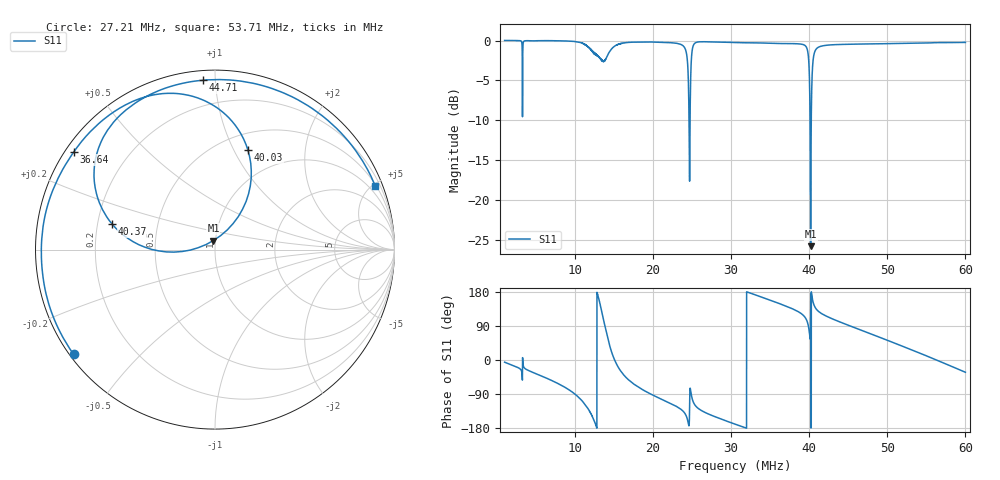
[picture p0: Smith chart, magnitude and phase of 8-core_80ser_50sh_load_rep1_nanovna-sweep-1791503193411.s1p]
! NanoVNA Web complex sweep
! Processing: unaveraged complex samples; linear segment spacing; no smoothing
# Hz S RI R 50
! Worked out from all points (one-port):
!   5050 points, 1 MHz to 60 MHz, reference 50 ohm
!   lowest |S11| = -25.8 dB at 40.18 MHz (marker M1), VSWR 1.11, Z = 48.9 + j4.95 ohm
!   |S11| at or under -10 dB: 24.61 MHz to 24.75 MHz (132.9 kHz wide, 0.538 % of centre); 40.11039 MHz to 40.26205 MHz (151.7 kHz wide, 0.377 % of centre)
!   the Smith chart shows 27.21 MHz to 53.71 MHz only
!   S11 on the Smith chart (normalised r, x): 27.21 MHz: 0.01, -0.33; 36.64 MHz: 0.02, +0.31; 40.03 MHz: 0.68, +1.14; 40.37 MHz: 0.26, +0.11; 44.71 MHz: 0.05, +0.93; 53.71 MHz: 0.55, +5.15
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1000000  0.9955 -0.1002
8384920  0.3708 -0.9222
1.108416e7  -0.3537 -0.8864
1.277848e7  -0.8043 -0.0357
1.399372e7  0.1833 0.75
1.477662e7  0.8576 0.254
1.575816e7  0.8588 -0.4164
1.848076e7  0.2353 -0.9493
2.313139e7  -0.5362 -0.7945
2.424146e7  -0.712 -0.4633
2.454528e7  -0.5053 -0.0901
2.490751e7  -0.0214 -0.7542
2.525806e7  -0.4042 -0.8598
2.720946e7  -0.7881 -0.583
3.050462e7  -0.9541 -0.1806
3.663925e7  -0.7872 0.5435
3.787786e7  -0.675 0.6769
3.960724e7  -0.2813 0.8699
4.00279e7  0.1838 0.5534
4.01798e7  -0.00905 0.0505
4.036676e7  -0.5723 0.1411
4.06472e7  -0.6673 0.4953
4.140673e7  -0.5238 0.7533
4.471358e7  -0.0664 0.9438
4.52511e7  0.00412 0.9473
5.262433e7  0.8245 0.4901
5.371104e7  0.8924 0.3561
5.999756e7  0.8215 -0.521
